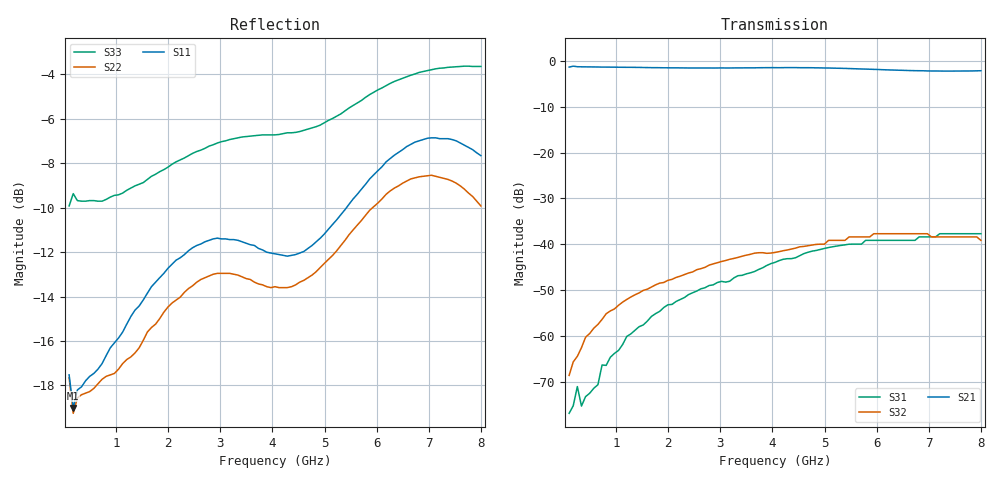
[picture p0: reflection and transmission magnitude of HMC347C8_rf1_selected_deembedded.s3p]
!Hittite Microwave Corporation
!12 Elizabeth Drive
!Chelmsford, MA 01824
!Tel: 978-250-3343
!Fax: 978-250-3373
!Device: HMC347C8, DC - 8 GHz GaAs MMIC High-Isolation SPDT Switch in 8-lead non-hermetic SMT ceramic package
!Misc: Port1=RFC, Port2= RF1, Port3=RF2, RF1 ON, Control: -5VDC
# MHZ S MA R 50
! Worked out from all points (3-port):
!   101 points, 100 MHz to 8 GHz, reference 50 ohm
!   strongest paths, dB at 100 MHz, 2.075 GHz, 4.05 GHz, 6.025 GHz, 8 GHz:
!     S21: -1.3, -1.5, -1.5, -1.9, -2.1
!     S32: -68.7, -47.7, -41.8, -37.7, -39.2
!     S31: -76.9, -53.2, -44.0, -39.2, -37.7
!   lowest |S11| = -19.0 dB at 179 MHz (marker M1), VSWR 1.25, Z = 62.5 + j1.82 ohm
!   |S11| at or under -10 dB: start of sweep to 5.422 GHz
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100  0.133 -2.5  0.859 -1.9  0.0001411 -60.8
     0.858 -1.9  0.131 -3.3  0.0003447 72.8
     0.0001422 -11.6  0.0003689 93.4  0.319 178.8
179  0.112 7.4  0.878 -5.2  0.0002339 -100.7
     0.878 -5.1  0.109 7.9  0.0004994 56.2
     0.000172 -80.0  0.0005179 68.2  0.34 170.3
258  0.123 4.4  0.867 -6.6  0.0002724 -78.9
     0.866 -6.6  0.118 4.6  0.0003972 93.1
     0.0002784 -102.4  0.0005962 63.4  0.328 168.4
337  0.125 5.4  0.864 -8.4  0.0002102 -97.8
     0.864 -8.4  0.12 5.3  0.0007074 80.3
     0.0001706 -101.6  0.0007405 75.3  0.327 165.2
416  0.129 6.1  0.863 -10.2  0.0001998 -94.6
     0.863 -10.2  0.121 6.6  0.0008665 81.8
     0.0002164 -99.0  0.0009634 85.0  0.327 162.0
890  0.153 9.1  0.857 -21.1  0.0006171 -164.8
     0.857 -21.1  0.133 12.8  0.00184 90.4
     0.0005817 -167.5  0.001865 90.8  0.334 142.5
1522  0.196 9.2  0.85 -35.5  0.001356 162.5
      0.849 -35.4  0.159 18.6  0.00316 93.3
      0.001311 161.1  0.003127 94.4  0.36 119.0
4050  0.249 -24.7  0.847 -92.0  0.006334 87.4
      0.846 -92.0  0.21 -28.0  0.008131 66.5
      0.006324 87.8  0.008123 66.6  0.461 52.7
5867  0.367 -66.3  0.815 -135.7  0.011 35.0
      0.813 -135.6  0.312 -48.8  0.013 39.4
      0.011 35.2  0.012 39.6  0.568 -2.9
8000  0.414 -102.2  0.784 178.5  0.013 -6.0
      0.783 178.6  0.319 -79.6  0.011 -16.1
      0.013 -5.8  0.011 -16.4  0.657 -32.4
